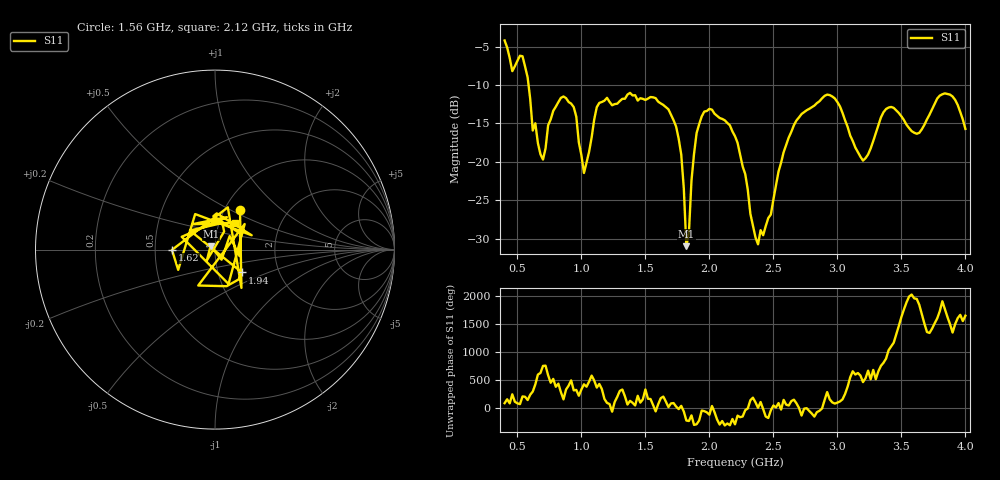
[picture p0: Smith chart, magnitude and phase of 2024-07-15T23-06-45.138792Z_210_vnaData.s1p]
!Created with skrf (http://scikit-rf.org).
# Hz S RI R 50.0
!freq ReS11 ImS11
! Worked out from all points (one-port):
!   181 points, 400 MHz to 4 GHz, reference 50 ohm
!   lowest |S11| = -31.0 dB at 1.82 GHz (marker M1), VSWR 1.06, Z = 47.8 + j1.69 ohm
!   |S11| at or under -10 dB: 586.9 MHz to end of sweep
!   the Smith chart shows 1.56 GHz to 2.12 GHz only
!   S11 on the Smith chart (normalised r, x): 1.56 GHz: 1.18, +0.56; 1.62 GHz: 0.61, -0.00; 1.94 GHz: 1.30, -0.35; 2.12 GHz: 1.19, +0.37
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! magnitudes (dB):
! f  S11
! 400 MHz  -4.2
! 460 MHz  -8.2
! 540 MHz  -6.3
! 620 MHz  -15.9
! 700 MHz  -19.7
! 860 MHz  -11.5
! 940 MHz  -12.9
! 1.02 GHz  -21.5
! 1.12 GHz  -12.9
! 1.3 GHz  -12.1
! 1.56 GHz  -11.6
! 1.62 GHz  -12.4
! 1.76 GHz  -17.0
! 1.8 GHz  -23.5
! 1.82 GHz  -31.0
! 1.88 GHz  -19.0
! 1.94 GHz  -14.1
! 2.12 GHz  -14.6
! 2.2 GHz  -16.7
! 2.38 GHz  -30.8
! 2.66 GHz  -15.3
! 2.92 GHz  -11.3
! 3.1 GHz  -16.6
! 3.2 GHz  -19.9
! 3.38 GHz  -13.1
! 3.56 GHz  -15.6
! 3.84 GHz  -11.1
! 4 GHz  -15.7
